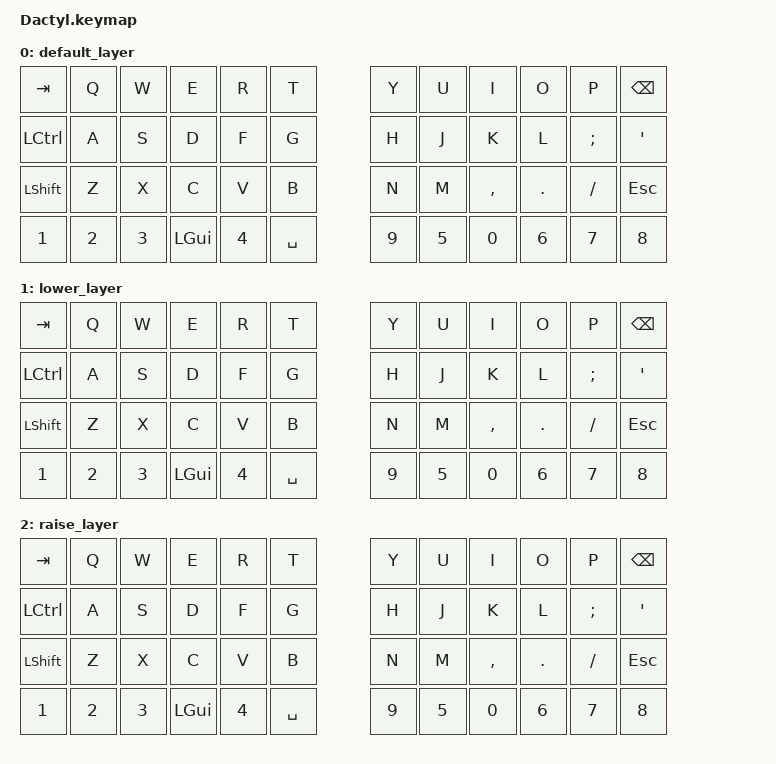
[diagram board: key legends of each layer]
/*
 * Copyright (c) 2020 The ZMK Contributors
 *
 * SPDX-License-Identifier: MIT
 */

#include <behaviors.dtsi>
#include <dt-bindings/zmk/keys.h>
#include <dt-bindings/zmk/bt.h>

/ {
        keymap {
                compatible = "zmk,keymap";

                default_layer {
// -----------------------------------------------------------------------------------------
// |  TAB |  Q  |  W  |  E  |  R  |  T  |   |  Y  |  U   |  I  |  O  |  P  | BSPC |
// | CTRL |  A  |  S  |  D  |  F  |  G  |   |  H  |  J   |  K  |  L  |  ;  |  '   |
// | SHFT |  Z  |  X  |  C  |  V  |  B  |   |  N  |  M   |  ,  |  .  |  /  | ESC  |
//                    | GUI | LWR | SPC |   | ENT | RSE  | ALT |
                        bindings = <
   &kp TAB   &kp Q &kp W &kp E &kp R &kp T   &kp Y &kp U  &kp I     &kp O   &kp P    &kp BSPC
   &kp LCTRL &kp A &kp S &kp D &kp F &kp G   &kp H &kp J  &kp K     &kp L   &kp SEMI &kp SQT
   &kp LSHFT &kp Z &kp X &kp C &kp V &kp B   &kp N &kp M  &kp COMMA &kp DOT &kp FSLH &kp ESC
   &kp 1 &kp 2 &kp 3 &kp LGUI &kp 4 &kp SPACE   &kp 9 &kp 5 &kp 0 &kp 6 &kp 7 &kp 8
                        >;
                };
                lower_layer {
// -----------------------------------------------------------------------------------------
// |  TAB |  1  |  2  |  3  |  4  |  5  |   |  6  |  7  |  8  |  9  |  0  | BSPC |
// | BTCLR| BT1 | BT2 | BT3 | BT4 | BT5 |   | LFT | DWN |  UP | RGT |     |      |
// | SHFT |     |     |     |     |     |   |     |     |     |     |     |      |
//                    | GUI |     | SPC |   | ENT |     | ALT |
                        bindings = <
   &kp TAB   &kp Q &kp W &kp E &kp R &kp T   &kp Y &kp U  &kp I     &kp O   &kp P    &kp BSPC
   &kp LCTRL &kp A &kp S &kp D &kp F &kp G   &kp H &kp J  &kp K     &kp L   &kp SEMI &kp SQT
   &kp LSHFT &kp Z &kp X &kp C &kp V &kp B   &kp N &kp M  &kp COMMA &kp DOT &kp FSLH &kp ESC
   &kp 1 &kp 2 &kp 3 &kp LGUI &kp 4 &kp SPACE   &kp 9 &kp 5 &kp 0 &kp 6 &kp 7 &kp 8
                        >;
                };

                raise_layer {
// -----------------------------------------------------------------------------------------
// |  TAB |  !  |  @  |  #  |  $  |  %  |   |  ^  |  &  |  *  |  (  |  )  | BSPC |
// | CTRL |     |     |     |     |     |   |  -  |  =  |  [  |  ]  |  \  |  `   |
// | SHFT |     |     |     |     |     |   |  _  |  +  |  {  |  }  | "|" |  ~   |
//                    | GUI |     | SPC |   | ENT |     | ALT |
                        bindings = <
   &kp TAB   &kp Q &kp W &kp E &kp R &kp T   &kp Y &kp U  &kp I     &kp O   &kp P    &kp BSPC
   &kp LCTRL &kp A &kp S &kp D &kp F &kp G   &kp H &kp J  &kp K     &kp L   &kp SEMI &kp SQT
   &kp LSHFT &kp Z &kp X &kp C &kp V &kp B   &kp N &kp M  &kp COMMA &kp DOT &kp FSLH &kp ESC
   &kp 1 &kp 2 &kp 3 &kp LGUI &kp 4 &kp SPACE   &kp 9 &kp 5 &kp 0 &kp 6 &kp 7 &kp 8
                        >;
                };
        };
};
